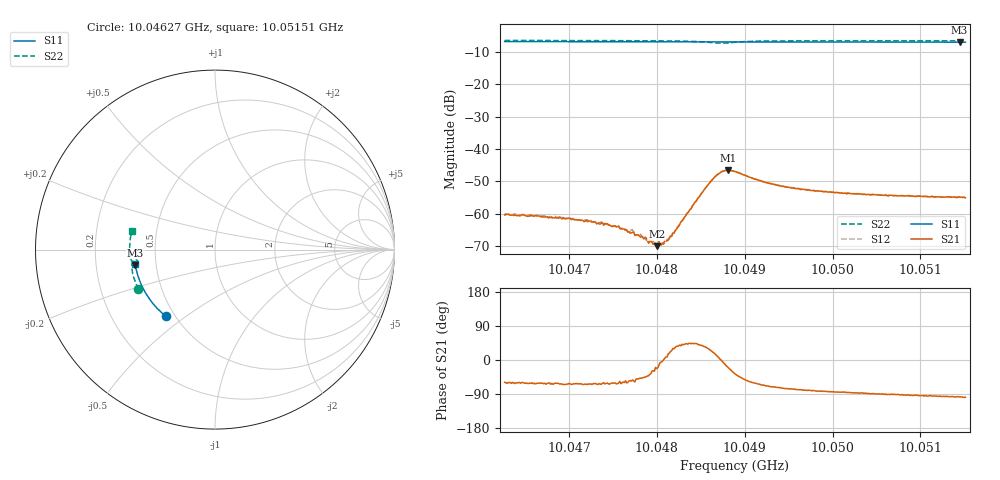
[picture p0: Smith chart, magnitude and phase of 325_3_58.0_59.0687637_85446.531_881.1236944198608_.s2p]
#  HZ  S  RI  R  50.00
! Rohde & Schwarz Vector Network Analyzer
! Rohde-Schwarz,ZNB20-2Port,1311601062101988,3.16
! Created: UTC 3/21/2024, 1:04:52 AM
! freq[Hz]  re:S11  im:S11  re:S21  im:S21  re:S12  im:S12  re:S22  im:S22
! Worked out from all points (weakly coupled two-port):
!   401 points, 10.04627 GHz to 10.05151 GHz, reference 50 ohm
!   highest |S21| = -46.57 dB at 10.04881 GHz (marker M1); lowest = -70.1 dB at 10.048 GHz (marker M2)
!   lowest |S11| = -6.9 dB at 10.05145 GHz (marker M3), VSWR 2.65, Z = 19 - j4.11 ohm
!   |S11| at or under -10 dB: nowhere
!   |S22| runs from -7.2 to -6.4 dB; largest |S21 - S12| = 0.00031
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1.0046267e10  -0.2733 -0.3718  0.000496 -0.000814  0.000562 -0.00081  -0.4267 -0.2208
1.0046661e10  -0.2933 -0.3552  0.00045 -0.000799  0.000514 -0.000778  -0.4376 -0.1967
1.0047146e10  -0.3166 -0.3331  0.000348 -0.000712  0.000397 -0.000681  -0.4493 -0.1659
1.0047539e10  -0.3343 -0.3141  0.000282 -0.000553  0.000333 -0.000533  -0.457 -0.1395
1.004771e10  -0.3414 -0.3056  0.000285 -0.000415  0.000326 -0.000457  -0.4595 -0.1278
1.0047775e10  -0.3443 -0.3024  0.000305 -0.000357  0.000296 -0.000366  -0.4605 -0.1231
1.0047841e10  -0.3471 -0.2989  0.000292 -0.000309  0.000321 -0.000309  -0.4612 -0.1183
1.0047932e10  -0.3509 -0.2942  0.000306 -0.000225  0.000306 -0.000194  -0.4622 -0.1115
1.0047998e10  -0.3534 -0.2907  0.000289 -0.000122  0.000308 -8.67e-05  -0.4631 -0.1065
1.0048024e10  -0.3546 -0.2893  0.000359 -8.93e-05  0.000329 -6.5e-05  -0.4632 -0.1043
1.0048077e10  -0.3567 -0.2866  0.000336 3.97e-06  0.000353 3.9e-05  -0.4635 -0.1002
1.0048142e10  -0.3593 -0.2832  0.000393 0.00013  0.000393 0.000152  -0.4637 -0.095
1.0048483e10  -0.3721 -0.2647  0.00138 0.00118  0.00136 0.00128  -0.456 -0.0642
1.004864e10  -0.3776 -0.2561  0.00325 0.0012  0.00318 0.00141  -0.4395 -0.0566
1.0048732e10  -0.3807 -0.2512  0.00441 -1.84e-05  0.00442 0.000227  -0.4309 -0.0643
1.0048811e10  -0.3834 -0.2468  0.00441 -0.0016  0.00454 -0.00135  -0.4337 -0.0742
1.0048889e10  -0.3859 -0.2425  0.00361 -0.00268  0.0038 -0.00244  -0.4433 -0.0782
1.0049256e10  -0.3981 -0.2215  0.0011 -0.00278  0.00129 -0.00273  -0.4693 -0.052
1.0049768e10  -0.4126 -0.1911  0.000356 -0.00224  0.000474 -0.00227  -0.4755 -0.0124
1.0050646e10  -0.4322 -0.137  -3.33e-05 -0.00192  9.11e-05 -0.00192  -0.4737 0.0484
1.0051446e10  -0.4439 -0.0859  -0.000246 -0.00179  -0.000143 -0.00178  -0.4647 0.1012
1.0051511e10  -0.4448 -0.0817  -0.000256 -0.00174  -0.00018 -0.00177  -0.4637 0.1053
